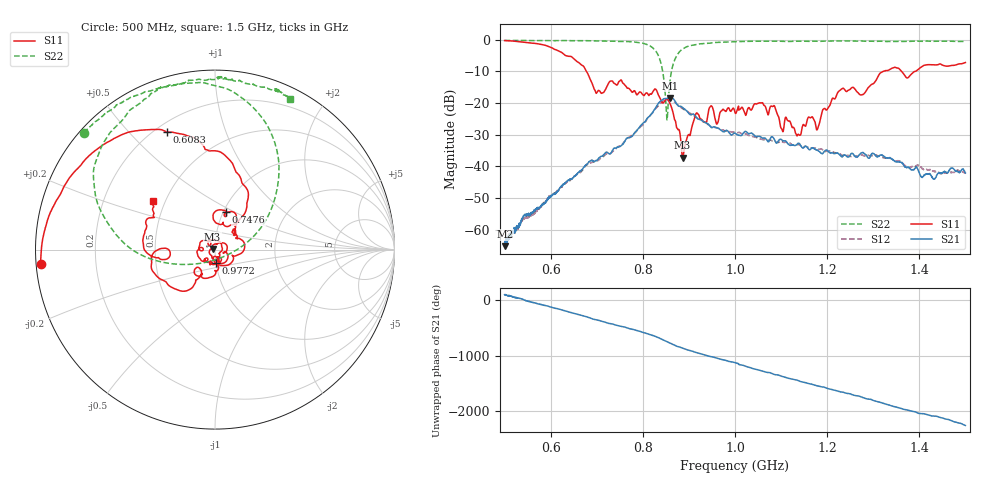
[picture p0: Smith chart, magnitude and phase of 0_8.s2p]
!Agilent Technologies,E8364B,US42250235,A.06.04.32
!Agilent E8364B: A.06.04.32
!Date: Thursday, October 01, 2020 14:15:04
!Correction: S11(Full 2 Port(1,2)) S21(Full 2 Port(1,2)) S12(Full 2 Port(1,2)) S22(Full 2 Port(1,2))
!S2P File: Measurements: S11, S21, S12, S22:
# Hz S  dB  R 50
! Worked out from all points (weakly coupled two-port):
!   2650 points, 500 MHz to 1.5 GHz, reference 50 ohm
!   highest |S21| = -18.37 dB at 858.2 MHz (marker M1); lowest = -65.2 dB at 500.4 MHz (marker M2)
!   lowest |S11| = -37.2 dB at 886.2 MHz (marker M3), VSWR 1.03, Z = 48.7 + j0.322 ohm
!   |S11| at or under -10 dB: 677.7 MHz to 1.321 GHz (643.5 MHz wide, 64.4 % of centre); 1.362 GHz to 1.39 GHz (28.04 MHz wide, 2.04 % of centre)
!   |S22| runs from -25.3 to -0.2 dB; largest |S21 - S12| = 0.062
!   S11 on the Smith chart (normalised r, x): 500 MHz: 0.01, -0.04; 608.3 MHz: 0.24, +0.64; 747.6 MHz: 1.03, +0.45; 977.2 MHz: 1.00, -0.15; 1.5 GHz: 0.43, +0.29
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5e8  -0.22 -175.3  -65.13 103.4  -64.22 94.5  -0.20 138.3
5.003775e8  -0.23 -175.5  -65.22 98.5  -64.35 82.6  -0.20 138.3
6.083428e8  -3.00 112.3  -48.68 -138.7  -48.49 -153.6  -0.25 124.8
6.668554e8  -7.95 67.9  -41.12 90.4  -41.53 74.8  -0.26 120.8
6.985655e8  -16.90 64.7  -38.18 10.4  -38.17 -8.7  -0.33 116.6
7.476406e8  -13.28 73.4  -33.87 -100.3  -33.65 -120.5  -0.50 104.8
8.046433e8  -17.19 38.6  -25.87 131.0  -26.25 105.2  -1.24 81.1
8.337108e8  -17.42 -11.8  -20.03 46.0  -20.84 15.6  -5.01 50.6
8.510759e8  -18.62 -31.9  -18.55 -22.7  -18.88 -53.0  -22.82 -25.8
8.582484e8  -19.95 -61.8  -18.37 -50.4  -18.85 -80.8  -13.90 -155.8
8.861835e8  -37.21 166.1  -21.39 -144.8  -21.79 -175.4  -2.92 157.4
9.163835e8  -23.12 19.0  -24.48 134.2  -24.60 102.0  -1.42 138.7
9.771612e8  -22.33 -86.6  -29.00 1.0  -28.76 -35.7  -0.69 115.6
1.000189e9  -23.03 -113.1  -29.52 -49.1  -29.24 -85.0  -0.54 112.3
1.082484e9  -21.01 162.0  -30.83 107.5  -31.91 93.4  -0.46 107.5
1.137599e9  -29.86 -39.6  -32.64 -14.1  -33.10 -25.8  -0.42 98.1
1.166667e9  -24.37 -88.7  -34.17 -77.3  -34.14 -84.1  -0.45 92.2
1.179502e9  -28.01 -81.1  -34.93 -109.9  -34.53 -112.1  -0.45 91.6
1.228954e9  -15.83 -103.0  -36.59 143.1  -36.16 147.3  -0.36 88.3
1.276519e9  -17.28 -127.2  -35.65 44.5  -36.42 58.2  -0.37 86.7
1.333522e9  -9.55 -148.6  -37.32 -92.0  -37.49 -66.1  -0.50 77.6
1.5e9  -7.17 142.1  -42.10 -105.1  -41.98 -55.0  -0.53 63.5
